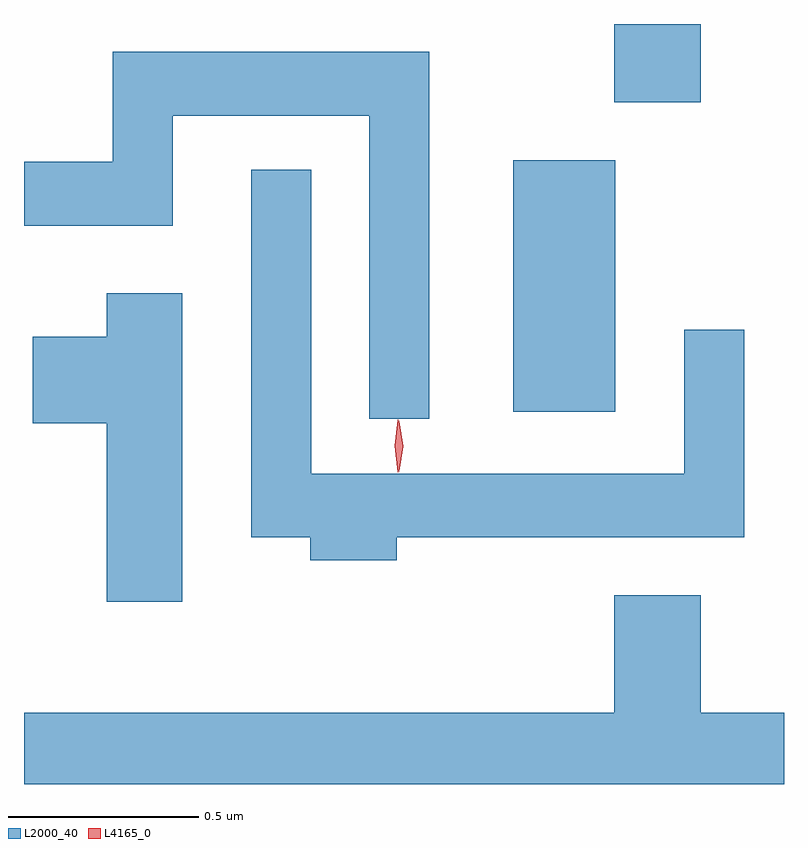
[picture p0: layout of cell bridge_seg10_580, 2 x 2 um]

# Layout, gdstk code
import gdstk
lib = gdstk.Library(unit=1e-6, precision=1e-09)
def R(c, l, rs):  # rectangles x0, y0, x1, y1
    for r in rs: c.add(gdstk.rectangle(r[:2], r[2:], *l))
def P(c, l, *ps):  # polygons
    for p in ps: c.add(gdstk.Polygon(p, *l))
L2000_40 = (2000, 40)
L4165_0 = (4165, 0)

bridge_seg10_580 = lib.new_cell('bridge_seg10_580')
R(bridge_seg10_580, L2000_40, [(772.846,2152.716,773.114,2153.379), (773.111,2153.531,773.339,2153.737)])
P(bridge_seg10_580, L2000_40, [(772.624,2153.664),(771.791,2153.664),(771.791,2153.374),(771.558,2153.374),(771.558,2153.206),(771.949,2153.206),(771.949,2153.496),(772.466,2153.496),(772.466,2152.698),(772.624,2152.698)],
  [(772.539,2152.386),(773.454,2152.386),(773.454,2152.933),(773.296,2152.933),(773.296,2152.554),(772.314,2152.554),(772.314,2153.353),(772.156,2153.353),(772.156,2152.386),(772.311,2152.386),(772.311,2152.326),(772.539,2152.326)],
  [(771.974,2153.029),(771.776,2153.029),(771.776,2152.914),(771.581,2152.914),(771.581,2152.686),(771.776,2152.686),(771.776,2152.216),(771.974,2152.216)],
  [(773.558,2151.924),(773.339,2151.924),(773.339,2152.234),(773.111,2152.234),(773.111,2151.924),(771.558,2151.924),(771.558,2151.737),(773.558,2151.737)])
P(bridge_seg10_580, L4165_0, [(772.542,2152.557),(772.533,2152.627),(772.542,2152.696),(772.543,2152.696),(772.543,2152.696),(772.553,2152.627),(772.543,2152.557),(772.543,2152.557)],
  [(772.546,2152.559),(772.545,2152.56),(772.536,2152.626),(772.545,2152.692),(772.546,2152.693),(772.546,2152.692),(772.556,2152.626),(772.546,2152.56)])

lib.write_gds('bridge_seg10_580.gds')
